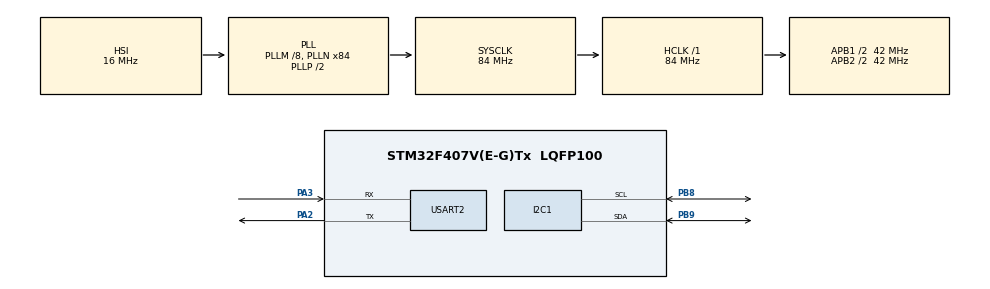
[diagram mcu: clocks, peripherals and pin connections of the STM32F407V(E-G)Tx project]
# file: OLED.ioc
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I2C1.I2C_Mode=I2C_Fast
Mcu.Family=STM32F4
Mcu.Name=STM32F407V(E-G)Tx
Mcu.Package=LQFP100
NVIC.PriorityGroup=NVIC_PRIORITYGROUP_0
NVIC.USART2_IRQn=true\:0\:0\:false\:false\:true\:true\:true\:true
PA13.Mode=Serial_Wire
PA13.Signal=SYS_JTMS-SWDIO
PA14.Mode=Serial_Wire
PA14.Signal=SYS_JTCK-SWCLK
PA2.Mode=Asynchronous
PA2.Signal=USART2_TX
PA3.Mode=Asynchronous
PA3.Signal=USART2_RX
PB8.Mode=I2C
PB8.Signal=I2C1_SCL
PB9.Mode=I2C
PB9.Signal=I2C1_SDA
PH0-OSC_IN.Mode=HSE-External-Oscillator
PH0-OSC_IN.Signal=RCC_OSC_IN
PH1-OSC_OUT.Mode=HSE-External-Oscillator
PH1-OSC_OUT.Signal=RCC_OSC_OUT
ProjectManager.HeapSize=0x200
ProjectManager.StackSize=0x400
ProjectManager.TargetToolchain=STM32CubeIDE
RCC.48MHZClocksFreq_Value=24000000
RCC.AHBFreq_Value=84000000
RCC.APB1CLKDivider=RCC_HCLK_DIV2
RCC.APB1Freq_Value=42000000
RCC.APB1TimFreq_Value=84000000
RCC.APB2CLKDivider=RCC_HCLK_DIV2
RCC.APB2Freq_Value=42000000
RCC.APB2TimFreq_Value=84000000
RCC.CortexFreq_Value=84000000
RCC.HCLKFreq_Value=84000000
RCC.HSE_VALUE=8000000
RCC.HSI_VALUE=16000000
RCC.LSE_VALUE=32768
RCC.PLLM=8
RCC.PLLN=84
RCC.PLLQ=7
RCC.SYSCLKFreq_VALUE=84000000
RCC.SYSCLKSource=RCC_SYSCLKSOURCE_PLLCLK
RCC.VCOOutputFreq_Value=168000000
USART2.VirtualMode=VM_ASYNC
board=STM32F407G-DISC1

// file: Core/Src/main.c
/* USER CODE BEGIN Header */
/**
  ******************************************************************************
  * @file           : main.c
  * @brief          : Main program body
  ******************************************************************************
  * @attention
  *
  * Copyright (c) 2025 STMicroelectronics.
  * All rights reserved.
  *
  * This software is licensed under terms that can be found in the LICENSE file
  * in the root directory of this software component.
  * If no LICENSE file comes with this software, it is provided AS-IS.
  *
  ******************************************************************************
  */
/* USER CODE END Header */
#include "main.h"

/* USER CODE BEGIN Includes */
#include <stdio.h>
#include <string.h>
#include "u8g2.h"
#include "u8g2_stm32.h"
#include "uart_handler.h"
#include <math.h>

/* USER CODE END Includes */

I2C_HandleTypeDef hi2c1;

UART_HandleTypeDef huart2;

/* USER CODE BEGIN PV */
// Application state variable
volatile uint8_t g_test_is_running = 0;

// Application data
#define NUM_PARAMETERS 24
float parameters[NUM_PARAMETERS] = {0.0f};

// OLED display handle
static u8g2_t u8g2;
const char* parameter_names_for_reference[NUM_PARAMETERS] = {
    "X1 Time Min->Max", "X1 Time Max->Min", "X2 Time Min->Max", "X2 Time Max->Min",
    "X1 +15V I Min->Max", "X1 -15V I Min->Max", "X1 +24V I Min->Max",
    "X1 +15V I Max->Min", "X1 -15V I Max->Min", "X1 +24V I Max->Min",
    "X2 +15V I Min->Max", "X2 -15V I Min->Max", "X2 +24V I Min->Max",
    "X2 +15V I Max->Min", "X2 -15V I Max->Min", "X2 +24V I Max->Min",
    "X1 Min Pos V", "X1 Max Pos V", "X2 Min Pos V", "X2 Max Pos V",
    "X1 Step Min->Max", "X1 Step Max->Min", "X2 Step Min->Max", "X2 Step Max->Min"
};
#define DATA_LOG_LENGTH 32
uint32_t data_log[DATA_LOG_LENGTH] = {
    101,
    255,
    1024,
    7,
    33000,
    65535,
    12345,
    9876,
    5,
    4095,
    8192,
    16384,
    32768,
    64001,
    128,
    2048,
    99999,
    1,
    0,
    123,
    4567,
    891011,
    121314,
    555,
    7777,
    88,
    42,
    1000000,
    2500,
    1337,
    54321,
    999
};

/* USER CODE END PV */

void SystemClock_Config(void);
static void MX_GPIO_Init(void);
static void MX_I2C1_Init(void);
static void MX_USART2_UART_Init(void);

/* USER CODE BEGIN 0 */

extern char display_buffer[200];

/* USER CODE END 0 */

int main(void)
{

  /* MCU Configuration--------------------------------------------------------*/

  /* Reset of all peripherals, Initializes the Flash interface and the Systick. */
  HAL_Init();

  /* Configure the system clock */
  SystemClock_Config();

  /* Initialize all configured peripherals */
  MX_GPIO_Init();
  MX_I2C1_Init();
  MX_USART2_UART_Init();
  /* USER CODE BEGIN 2 */
  uart_handler_init(&huart2);
  u8g2_Setup_sh1106_i2c_128x64_noname_f(
      &u8g2,
      U8G2_R0,
      u8x8_byte_i2c_stm32,
      u8g2_gpio_and_delay_stm32
  );

  u8g2_InitDisplay(&u8g2);
  u8g2_SetPowerSave(&u8g2, 0); // wake up display
  /* USER CODE END 2 */

  /* Infinite loop */
  while (1)
  {

    /* USER CODE BEGIN 3 */
	  // ===================================================================
	      // 1. COMMAND HANDLING SECTION (Now clean and using the new module)
	      // ===================================================================
	      if (uart_command_is_ready()) {
	          const char* command = (const char*)uart_get_command_buffer();

	          printf("DBG_MAIN: Flag detected.\r\n");
	          fflush(stdout);

	          if (strcmp(command, "CMD:PERFORM_TEST") == 0) {
	              printf("DBG_MAIN: Command for Start MATCHED!\r\n");
	              fflush(stdout);
	              g_test_is_running = 1;
	          } else if (strcmp(command, "CMD:STOP_TEST") == 0) {
	              printf("DBG_MAIN: Command for Stop MATCHED!\r\n");
	              fflush(stdout);
	              g_test_is_running = 0;
	          } else {
	              printf("DBG_MAIN: Command MISMATCH! Received: [%s]\r\n", command);
	              fflush(stdout);
	          }

	          // Reset the UART handler for the next command
	          uart_reset_for_next_command();
	      }

	      // ===================================================================
	      // 2. STATE-BASED ACTION SECTION (Unchanged)
	      // ===================================================================
	      if (g_test_is_running) {
	          // --- STATE: TEST ACTIVE ---
	          // A. Simulate live data
	          parameters[0] = 3.20f + (HAL_GetTick() % 100) / 1000.0f;
	          parameters[1] = 3.10f + (HAL_GetTick() % 100) / 1000.0f;
	          parameters[2] = 3.30f + (HAL_GetTick() % 100) / 1000.0f;
	          parameters[3] = 3.40f + (HAL_GetTick() % 100) / 1000.0f;
	          parameters[4] = 0.13f + (HAL_GetTick() % 100) / 2000.0f;
	          parameters[5] = 0.10f + (HAL_GetTick() % 100) / 2000.0f;
	          for (int i = 6; i < NUM_PARAMETERS; i++) {
	              parameters[i] = (float)i + ((HAL_GetTick() % 1000) / 1000.0f);
	          }

	          // B. Send data to Python GUI
	          printf("DATA,");
	          for (int i = 0; i < NUM_PARAMETERS; i++) {
	              printf("%ld", (int32_t)(parameters[i] * 1000.0f));
	              if (i < NUM_PARAMETERS - 1) {
	                  printf(",");
	              }
	          }
	          printf("\n");
	          fflush(stdout);

	          // C. Update the OLED display
	          u8g2_ClearBuffer(&u8g2);
	          u8g2_SetFont(&u8g2, u8g2_font_ncenB10_tr);
	          u8g2_DrawStr(&u8g2, 0, 18, "Test Running...");
	          u8g2_SetFont(&u8g2, u8g2_font_profont12_tr);
	          char display_buf[32]; // Buffer for display lines

	         // --- NEW METHOD for "X1 Time" (replaces snprintf with %.2f) ---
	          	  int32_t integer_part = (int32_t)parameters[0];
	          	        // Use fabsf() to handle the fractional part of negative numbers correctly
	          	        int32_t fractional_part = (int32_t)(fabsf(parameters[0] * 100.0f)) % 100;
	          	        // Use %ld for long int and %02ld to pad the fraction with a zero (e.g., 3.05)
	          	        snprintf(display_buf, sizeof(display_buf), "X1 Time: %ld.%02ld s", integer_part, fractional_part);
	          	        u8g2_DrawStr(&u8g2, 0, 40, display_buf);

	          	        // --- NEW METHOD for "X1 +15V I" (replaces snprintf with %.2f) ---
	          	        integer_part = (int32_t)parameters[4];
	          	        fractional_part = (int32_t)(fabsf(parameters[4] * 100.0f)) % 100;
	          	        snprintf(display_buf, sizeof(display_buf), "X1 +15V I: %ld.%02ld A", integer_part, fractional_part);
	          	        u8g2_DrawStr(&u8g2, 0, 55, display_buf);

	        u8g2_SendBuffer(&u8g2);
	      } else {
	          // --- STATE: IDLE ---
	          u8g2_ClearBuffer(&u8g2);
	          u8g2_SetFont(&u8g2, u8g2_font_ncenB10_tr);
	          u8g2_DrawStr(&u8g2, 0, 35, "Ready...");
	          u8g2_SetFont(&u8g2, u8g2_font_profont12_tr);
	          u8g2_DrawStr(&u8g2, 0, 55, "Waiting for command");
	          u8g2_SendBuffer(&u8g2);
	      }

	      HAL_Delay(500);
	    }
  /* USER CODE END 3 */
}

void SystemClock_Config(void)
{
  RCC_OscInitTypeDef RCC_OscInitStruct = {0};
  RCC_ClkInitTypeDef RCC_ClkInitStruct = {0};

  /** Configure the main internal regulator output voltage
  */
  __HAL_RCC_PWR_CLK_ENABLE();
  __HAL_PWR_VOLTAGESCALING_CONFIG(PWR_REGULATOR_VOLTAGE_SCALE1);

  /** Initializes the RCC Oscillators according to the specified parameters
  * in the RCC_OscInitTypeDef structure.
  */
  RCC_OscInitStruct.OscillatorType = RCC_OSCILLATORTYPE_HSI;
  RCC_OscInitStruct.HSIState = RCC_HSI_ON;
  RCC_OscInitStruct.HSICalibrationValue = RCC_HSICALIBRATION_DEFAULT;
  RCC_OscInitStruct.PLL.PLLState = RCC_PLL_ON;
  RCC_OscInitStruct.PLL.PLLSource = RCC_PLLSOURCE_HSI;
  RCC_OscInitStruct.PLL.PLLM = 8;
  RCC_OscInitStruct.PLL.PLLN = 84;
  RCC_OscInitStruct.PLL.PLLP = RCC_PLLP_DIV2;
  RCC_OscInitStruct.PLL.PLLQ = 7;
  if (HAL_RCC_OscConfig(&RCC_OscInitStruct) != HAL_OK)
  {
    Error_Handler();
  }

  /** Initializes the CPU, AHB and APB buses clocks
  */
  RCC_ClkInitStruct.ClockType = RCC_CLOCKTYPE_HCLK|RCC_CLOCKTYPE_SYSCLK
                              |RCC_CLOCKTYPE_PCLK1|RCC_CLOCKTYPE_PCLK2;
  RCC_ClkInitStruct.SYSCLKSource = RCC_SYSCLKSOURCE_PLLCLK;
  RCC_ClkInitStruct.AHBCLKDivider = RCC_SYSCLK_DIV1;
  RCC_ClkInitStruct.APB1CLKDivider = RCC_HCLK_DIV2;
  RCC_ClkInitStruct.APB2CLKDivider = RCC_HCLK_DIV2;

  if (HAL_RCC_ClockConfig(&RCC_ClkInitStruct, FLASH_LATENCY_2) != HAL_OK)
  {
    Error_Handler();
  }
}

static void MX_I2C1_Init(void)
{

  hi2c1.Instance = I2C1;
  hi2c1.Init.ClockSpeed = 400000;
  hi2c1.Init.DutyCycle = I2C_DUTYCYCLE_2;
  hi2c1.Init.OwnAddress1 = 0;
  hi2c1.Init.AddressingMode = I2C_ADDRESSINGMODE_7BIT;
  hi2c1.Init.DualAddressMode = I2C_DUALADDRESS_DISABLE;
  hi2c1.Init.OwnAddress2 = 0;
  hi2c1.Init.GeneralCallMode = I2C_GENERALCALL_DISABLE;
  hi2c1.Init.NoStretchMode = I2C_NOSTRETCH_DISABLE;
  if (HAL_I2C_Init(&hi2c1) != HAL_OK)
  {
    Error_Handler();
  }

}

static void MX_USART2_UART_Init(void)
{

  huart2.Instance = USART2;
  huart2.Init.BaudRate = 115200;
  huart2.Init.WordLength = UART_WORDLENGTH_8B;
  huart2.Init.StopBits = UART_STOPBITS_1;
  huart2.Init.Parity = UART_PARITY_NONE;
  huart2.Init.Mode = UART_MODE_TX_RX;
  huart2.Init.HwFlowCtl = UART_HWCONTROL_NONE;
  huart2.Init.OverSampling = UART_OVERSAMPLING_16;
  if (HAL_UART_Init(&huart2) != HAL_OK)
  {
    Error_Handler();
  }

}

static void MX_GPIO_Init(void)
{

  /* GPIO Ports Clock Enable */
  __HAL_RCC_GPIOH_CLK_ENABLE();
  __HAL_RCC_GPIOA_CLK_ENABLE();
  __HAL_RCC_GPIOB_CLK_ENABLE();

}

void Error_Handler(void)
{
  __disable_irq();
  while (1)
  {
  }
}
